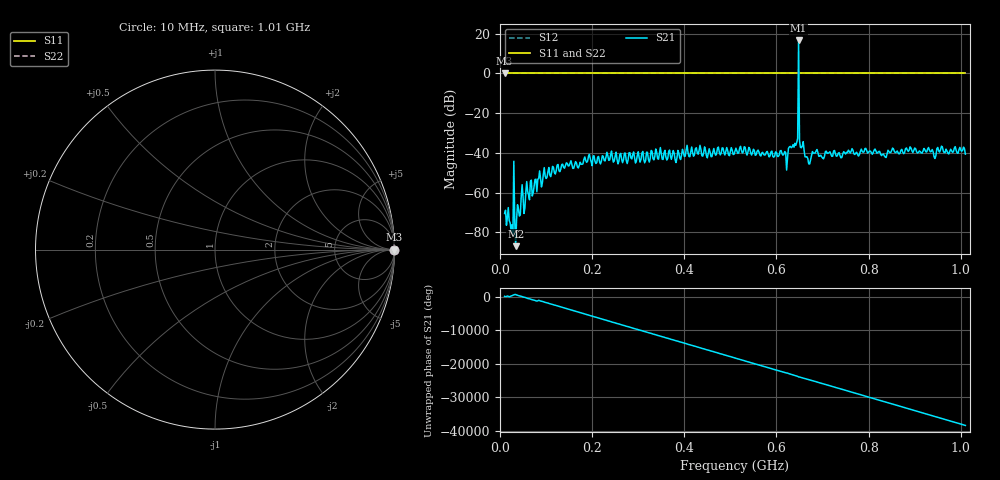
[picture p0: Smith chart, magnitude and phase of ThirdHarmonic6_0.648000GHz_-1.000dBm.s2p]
! 8/15/2025 9:29:48 PM
! C:\ANRITSUVNA\TEMP\TEMP.S2P
! CHANNEL.1
! TR.MEASUREMENT
! RAW.DATA
! RF.CORRECTION.OFF
! AVERAGING.OFF
! IF.BANDWIDTH: 5KHZ
! SWEEPTYPE:  FREQ.SWEEP(Linear)
! Reference Plane Port Info
! PORT:  PORT1  PORT2
! DISTANCE:  0  m  0  m
! TIME:  0  s  0  s
! PHASE.OFFSET:  0  deg.  0  deg.
! LOSS:  0  dB  0  dB
! REF.LOSS:  0  dB  0  dB
! REF.FREQ:  0  Hz  0  Hz
! Power Info
! POWER:  -20  dBm  -20  dBm
! EFF.POWER:  -20  dBm  -20  dBm
! SOURCE.ATTEN:  0  dB  0  dB
! TEST.ATTEN:  0  dB  0  dB
# GHZ S RI R 50.0
! FREQ.GHZ  S11RE  S11IM  S21RE  S21IM  S12RE  S12IM  S22RE  S22IM
!; PortSelection: Port_12
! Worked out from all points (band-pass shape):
!   501 points, 10 MHz to 1.01 GHz, reference 50 ohm
!   highest |S21| = 16.61 dB at 648 MHz (marker M1); lowest = -87.0 dB at 34 MHz (marker M2)
!   |S21| within 3 dB of the highest: 647.8783 MHz to 648.1191 MHz (240.8 kHz wide, 0.0372 % of centre)
!   lowest |S11| = 0.0 dB at 10 MHz (marker M3)
!   |S11| at or under -10 dB: nowhere
!   |S22| runs from 0.0 to 0.0 dB; largest |S21 - S12| = 7.4
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0.01  1 0  -0.00028 0.000103  1 0  1 0
0.024  1 0  2.99e-05 -0.000107  1 0  1 0
0.026  1 0  0.000134 -7.9e-05  1 0  1 0
0.034  1 0  4.06e-05 -1.92e-05  1 0  1 0
0.036  1 0  -0.000199 -8.57e-05  1 0  1 0
0.046  1 0  -0.000765 -4.22e-05  1 0  1 0
0.062  1 0  -0.000763 -0.000428  1 0  1 0
0.098  1 0  -0.00235 0.00119  1 0  1 0
0.178  1 0  -0.00517 -2.5e-06  1 0  1 0
0.344  1 0  0.00585 -0.00374  1 0  1 0
0.51  1 0  -0.00777 0.00781  1 0  1 0
0.612  1 0  0.00871 -0.00407  1 0  1 0
0.62  1 0  0.00857 0.00542  1 0  1 0
0.642  1 0  -0.0125 -0.00934  1 0  1 0
0.644  1 0  -0.0136 0.0125  1 0  1 0
0.648  1 0  -4.048 -5.423  1 0  1 0
0.652  1 0  -0.01 0.00953  1 0  1 0
0.654  1 0  0.00507 0.0125  1 0  1 0
0.668  1 0  -0.00541 -0.00479  1 0  1 0
0.678  1 0  -0.00895 -0.00608  1 0  1 0
0.844  1 0  0.0105 0.00241  1 0  1 0
1.01  1 0  -0.00849 0.00373  1 0  1 0
